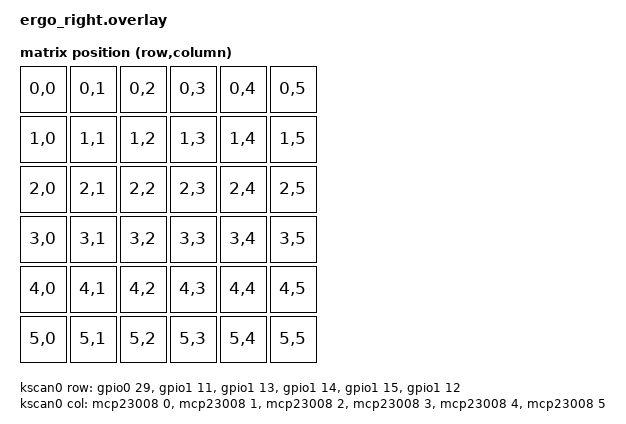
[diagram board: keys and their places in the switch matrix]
#include <zephyr/dt-bindings/gpio/gpio.h>
#include <zephyr/dt-bindings/pinctrl/nrf-pinctrl.h>
#include <dt-bindings/zmk/matrix_transform.h>
#include <dt-bindings/zmk/input_transform.h> /* NEW: Required for axis inversion */

&pinctrl {
    i2c0_default: i2c0_default {
        group1 {
            psels = <NRF_PSEL(TWIM_SDA, 0, 4)>,
                    <NRF_PSEL(TWIM_SCL, 0, 5)>;
        };
    };

    i2c0_sleep: i2c0_sleep {
        group1 {
            psels = <NRF_PSEL(TWIM_SDA, 0, 4)>,
                    <NRF_PSEL(TWIM_SCL, 0, 5)>;
            low-power-enable;
        };
    };
};

&i2c0 {
    status = "okay";
    clock-frequency = <I2C_BITRATE_FAST>;
    pinctrl-0 = <&i2c0_default>;
    pinctrl-1 = <&i2c0_sleep>;
    pinctrl-names = "default", "sleep";

    mcp23008: mcp23008@20 {
        compatible = "microchip,mcp23008";
        status = "okay";
        reg = <0x20>;
        gpio-controller;
        #gpio-cells = <2>;
    };

    tps43: tps43@74 {
        compatible = "azoteq,iqs5xx";
        status = "okay";
        reg = <0x74>;
        rdy-gpios = <&gpio0 28 (GPIO_ACTIVE_LOW | GPIO_PULL_UP)>;
        reset-gpios = <&gpio0 2 GPIO_ACTIVE_LOW>; 
        
        /* NEW: Wake up the native two-finger scroll capability */
        scroll;
    };
};

/ {
    chosen {
        zmk,kscan = &kscan0;
        zmk,physical-layout = &physical_layout0;
    };

    kscan0: kscan {
        compatible = "zmk,kscan-gpio-matrix";
        diode-direction = "col2row";
        wakeup-source;

        row-gpios
            = <&gpio0 29 (GPIO_ACTIVE_HIGH | GPIO_PULL_DOWN)> /* Row 0: D3 (Top Row) */
            , <&gpio1 11 (GPIO_ACTIVE_HIGH | GPIO_PULL_DOWN)> /* Row 1: D6 (Home Row) */
            , <&gpio1 13 (GPIO_ACTIVE_HIGH | GPIO_PULL_DOWN)> /* Row 2: D8 (Bottom Row) */
            , <&gpio1 14 (GPIO_ACTIVE_HIGH | GPIO_PULL_DOWN)> /* Row 3: D9 (Space/Arrows) */
            , <&gpio1 15 (GPIO_ACTIVE_HIGH | GPIO_PULL_DOWN)> /* Row 4: D10 (Down Arrow) */
            , <&gpio1 12 (GPIO_ACTIVE_HIGH | GPIO_PULL_DOWN)> /* Row 5: D7 (Mouse Keys) */
            ;

        col-gpios
            = <&mcp23008 0 GPIO_ACTIVE_HIGH>
            , <&mcp23008 1 GPIO_ACTIVE_HIGH>
            , <&mcp23008 2 GPIO_ACTIVE_HIGH>
            , <&mcp23008 3 GPIO_ACTIVE_HIGH>
            , <&mcp23008 4 GPIO_ACTIVE_HIGH>
            , <&mcp23008 5 GPIO_ACTIVE_HIGH>
            ;
    };

    default_transform: keymap_transform_0 {
        compatible = "zmk,matrix-transform";
        columns = <6>;
        rows = <6>;
        map = <
            RC(0,0) RC(0,1) RC(0,2) RC(0,3) RC(0,4) RC(0,5)
            RC(1,0) RC(1,1) RC(1,2) RC(1,3) RC(1,4) RC(1,5)
            RC(2,0) RC(2,1) RC(2,2) RC(2,3) RC(2,4) RC(2,5)
            RC(3,0) RC(3,1) RC(3,2) RC(3,3) RC(3,4) RC(3,5)
            RC(4,0) RC(4,1) RC(4,2) RC(4,3) RC(4,4) RC(4,5)
            RC(5,0) RC(5,1) RC(5,2) RC(5,3) RC(5,4) RC(5,5)
        >;
    };

    physical_layout0: physical_layout_0 {
        compatible = "zmk,physical-layout";
        display-name = "Ergo Right";
        kscan = <&kscan0>;
        transform = <&default_transform>;
    };

    trackpad_listener {
        compatible = "zmk,input-listener";
        device = <&tps43>;
        
        /* NEW: Flip the X-axis before it hits the computer */
        input-processors = <&zip_xy_transform (INPUT_TRANSFORM_X_INVERT)>;
    };
};
